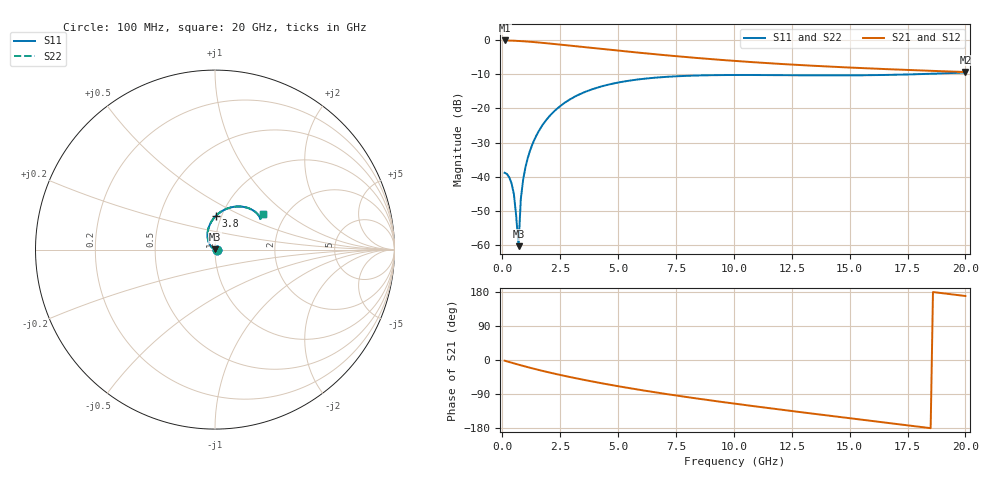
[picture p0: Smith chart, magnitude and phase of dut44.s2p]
! Touchstone file exported from HFSS 2023.1.0
!  File:  D:/Users/fzz/RDL_TSV/temp_RDL_TSV_44_1778745000.aedt
!  Generated:  4:01:04 %x4E0B%x5348  5%x6708 14, 2026
!  Design:  RDL_TSV
!  Project:  temp_RDL_TSV_44_1778745000
!  Setup:  Setup1
!  Solution:  Sweep
! Variables:
!  dtsv = 10.72um
!  hbump = 3um
!  htsv = 88.04um
!  ldown = 420.54um
!  lrdl = 304.54um
!  p = 40
!  p1 = 54.21um
!  rhole = 10um
!  subl = 2479.78um
!  t = 450um
!  tdown = 4.33um
!  trdl = 4.94um
!  viad = 10um
!  wdown = 24.39um
!  wrdl = 13.09um
!  xbump = 18um
# GHz S MA R 50.000000
! Terminal data exported
! Port[1] = TM1_1_T1
! Port[2] = TM1_4_T1
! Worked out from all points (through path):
!   200 points, 100 MHz to 20 GHz, reference 50 ohm
!   highest |S21| = -0.11 dB at 100 MHz (marker M1); lowest = -9.3 dB at 20 GHz (marker M2)
!   group delay of S21, straight-line fit = 24.8 ps
!   lowest |S11| = -60.3 dB at 700 MHz (marker M3), VSWR 1.00, Z = 49.9 + j0.0787 ohm
!   |S11| at or under -10 dB: start of sweep to 17.77 GHz
!   |S22| runs from -60.2 to -9.5 dB; largest |S21 - S12| = 1.2e-14
!   S11 on the Smith chart (normalised r, x): 100 MHz: 1.02, -0.00; 3.8 GHz: 0.94, +0.36; 20 GHz: 1.55, +0.70
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0.1  0.01149 -0.4  0.9879 -1.8  0.9879 -1.8  0.01149 -0.4
! Gamma 0 0 0 0
! Port Impedance 50 0 50 0
0.3  0.009866 -5.5  0.9844 -5.4  0.9844 -5.4  0.009869 -5.4
0.4  0.008037 -8.1  0.9819 -7.1  0.9819 -7.1  0.008041 -8.0
0.5  0.005624 -9.7  0.9789 -8.8  0.9789 -8.8  0.005629 -9.7
0.6  0.002692 -7.0  0.9754 -10.6  0.9754 -10.6  0.002697 -6.9
0.7  0.0009709 125.7  0.9714 -12.3  0.9714 -12.3  0.000972 125.4
0.8  0.004762 149.2  0.9671 -14.0  0.9671 -14.0  0.004762 149.1
0.9  0.00909 149.2  0.9623 -15.6  0.9623 -15.6  0.009092 149.1
1  0.01382 147.4  0.9571 -17.3  0.9571 -17.3  0.01382 147.3
1.1  0.0189 145.1  0.9516 -18.9  0.9516 -18.9  0.0189 145.0
1.3  0.02997 140.0  0.9399 -22.1  0.9399 -22.1  0.02998 140.0
1.7  0.05478 129.9  0.9141 -28.2  0.9141 -28.2  0.05481 129.9
2.2  0.08822 118.3  0.8801 -35.3  0.8801 -35.3  0.08826 118.3
2.8  0.1281 105.9  0.839 -43.4  0.839 -43.4  0.1281 105.9
3.5  0.1705 93.6  0.7927 -52.1  0.7927 -52.1  0.1706 93.5
3.8  0.1867 88.9  0.7737 -55.7  0.7737 -55.7  0.1868 88.9
5.1  0.2429 72.1  0.6969 -70.2  0.6969 -70.2  0.2431 72.1
6.8  0.2857 56.5  0.612 -87.1  0.612 -87.1  0.2859 56.5
10.1  0.3089 39.7  0.4945 -115.7  0.4945 -115.7  0.3092 39.6
13.4  0.305 34.1  0.4219 -141.5  0.4219 -141.5  0.3054 34.1
16.7  0.31 34.9  0.375 -166.4  0.375 -166.4  0.3103 34.8
20  0.3358 36.6  0.3414 168.9  0.3414 168.9  0.3358 36.4
